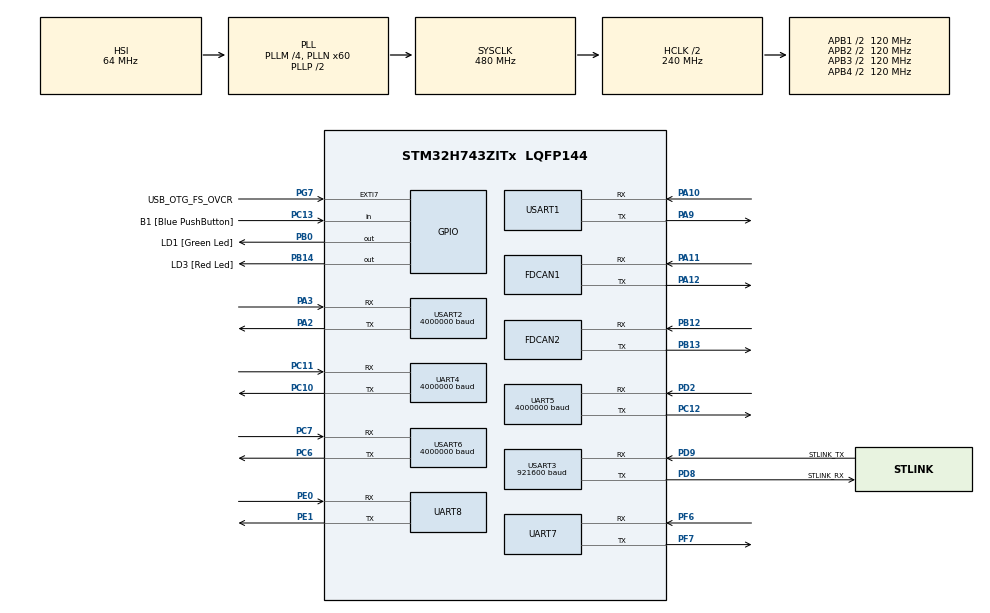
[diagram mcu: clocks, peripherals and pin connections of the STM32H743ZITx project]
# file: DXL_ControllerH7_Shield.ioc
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FDCAN1.AutoRetransmission=ENABLE
FDCAN1.CalculateBaudRateNominal=100000
FDCAN1.CalculateTimeBitNominal=10000
FDCAN1.CalculateTimeQuantumNominal=125.0
FDCAN1.DataPrescaler=2
FDCAN1.DataSyncJumpWidth=16
FDCAN1.DataTimeSeg1=23
FDCAN1.DataTimeSeg2=16
FDCAN1.FrameFormat=FDCAN_FRAME_FD_NO_BRS
FDCAN1.Mode=FDCAN_MODE_EXTERNAL_LOOPBACK
FDCAN1.NominalPrescaler=1
FDCAN1.NominalSyncJumpWidth=10
FDCAN1.NominalTimeSeg1=69
FDCAN1.NominalTimeSeg2=10
FDCAN1.RxFifo0ElmtSize=FDCAN_DATA_BYTES_12
FDCAN1.RxFifo0ElmtsNbr=1
FDCAN1.StdFiltersNbr=1
FDCAN1.TxElmtSize=FDCAN_DATA_BYTES_12
FDCAN1.TxFifoQueueElmtsNbr=1
FDCAN2.CalculateBaudRateNominal=100000
FDCAN2.CalculateTimeBitNominal=10000
FDCAN2.CalculateTimeQuantumNominal=2000.0
Mcu.Family=STM32H7
Mcu.Name=STM32H743ZITx
Mcu.Package=LQFP144
NVIC.FDCAN1_IT0_IRQn=true\:0\:0\:false\:false\:true\:true\:true\:true
NVIC.PriorityGroup=NVIC_PRIORITYGROUP_4
PA10.Mode=Asynchronous
PA10.Signal=USART1_RX
PA11.Mode=FDCAN_Activate
PA11.Signal=FDCAN1_RX
PA12.Mode=FDCAN_Activate
PA12.Signal=FDCAN1_TX
PA2.Mode=Asynchronous
PA2.Signal=USART2_TX
PA3.Mode=Asynchronous
PA3.Signal=USART2_RX
PA9.Mode=Asynchronous
PA9.Signal=USART1_TX
PB0.GPIO_Label=LD1 [Green Led]
PB0.Signal=GPIO_Output
PB12.Mode=FDCAN_Activate
PB12.Signal=FDCAN2_RX
PB13.Mode=FDCAN_Activate
PB13.Signal=FDCAN2_TX
PB14.GPIO_Label=LD3 [Red Led]
PB14.Signal=GPIO_Output
PC10.Mode=Asynchronous
PC10.Signal=UART4_TX
PC11.Mode=Asynchronous
PC11.Signal=UART4_RX
PC12.Mode=Asynchronous
PC12.Signal=UART5_TX
PC13.GPIO_Label=B1 [Blue PushButton]
PC13.Signal=GPIO_Input
PC6.Mode=Asynchronous
PC6.Signal=USART6_TX
PC7.Mode=Asynchronous
PC7.Signal=USART6_RX
PD2.Mode=Asynchronous
PD2.Signal=UART5_RX
PD8.GPIO_Label=STLINK_RX
PD8.Mode=Asynchronous
PD8.Signal=USART3_TX
PD9.GPIO_Label=STLINK_TX
PD9.Mode=Asynchronous
PD9.Signal=USART3_RX
PE0.Mode=Asynchronous
PE0.Signal=UART8_RX
PE1.Mode=Asynchronous
PE1.Signal=UART8_TX
PF6.Mode=Asynchronous
PF6.Signal=UART7_RX
PF7.Mode=Asynchronous
PF7.Signal=UART7_TX
PG7.GPIO_Label=USB_OTG_FS_OVCR
PG7.Signal=GPXTI7
PH0-OSC_IN\ (PH0).Mode=HSE-External-Oscillator
PH0-OSC_IN\ (PH0).Signal=RCC_OSC_IN
PH1-OSC_OUT\ (PH1).Mode=HSE-External-Oscillator
PH1-OSC_OUT\ (PH1).Signal=RCC_OSC_OUT
ProjectManager.HeapSize=0x200
ProjectManager.StackSize=0x400
ProjectManager.TargetToolchain=STM32CubeIDE
RCC.ADCFreq_Value=129000000
RCC.APB1Freq_Value=120000000
RCC.APB2Freq_Value=120000000
RCC.APB3Freq_Value=120000000
RCC.APB4Freq_Value=120000000
RCC.CortexFreq_Value=480000000
RCC.D1PPRE=RCC_APB3_DIV2
RCC.D2PPRE1=RCC_APB1_DIV2
RCC.D2PPRE2=RCC_APB2_DIV2
RCC.D3PPRE=RCC_APB4_DIV2
RCC.DIVM1=4
RCC.DIVN1=60
RCC.DIVQ1=8
RCC.FDCANCLockSelection=RCC_FDCANCLKSOURCE_HSE
RCC.HCLKFreq_Value=240000000
RCC.HPRE=RCC_HCLK_DIV2
RCC.HSE_VALUE=8000000
RCC.PLLFRACN=0
RCC.PWR_Regulator_Voltage_Scale=PWR_REGULATOR_VOLTAGE_SCALE0
RCC.ProductRev=revV
RCC.SYSCLKFreq_VALUE=480000000
RCC.SYSCLKSource=RCC_SYSCLKSOURCE_PLLCLK
RCC.SupplySource=PWR_LDO_SUPPLY
RCC.USBFreq_Value=120000000
UART4.BaudRate=4000000
UART5.BaudRate=4000000
USART1.VirtualMode-Asynchronous=VM_ASYNC
USART2.BaudRate=4000000
USART2.VirtualMode-Asynchronous=VM_ASYNC
USART3.BaudRate=921600
USART3.VirtualMode-Asynchronous=VM_ASYNC
USART6.BaudRate=4000000
USART6.VirtualMode-Asynchronous=VM_ASYNC
board=NUCLEO-H743ZI2

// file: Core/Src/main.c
/* USER CODE BEGIN Header */
/**
  ******************************************************************************
  * @file           : main.c
  * @brief          : Main program body
  ******************************************************************************
  * @attention
  *
  * Copyright (c) 2023 STMicroelectronics.
  * All rights reserved.
  *
  * This software is licensed under terms that can be found in the LICENSE file
  * in the root directory of this software component.
  * If no LICENSE file comes with this software, it is provided AS-IS.
  *
  ******************************************************************************
  */
/* USER CODE END Header */
#include "main.h"

FDCAN_HandleTypeDef hfdcan1;
FDCAN_HandleTypeDef hfdcan2;

UART_HandleTypeDef huart4;
UART_HandleTypeDef huart5;
UART_HandleTypeDef huart7;
UART_HandleTypeDef huart8;
UART_HandleTypeDef huart1;
UART_HandleTypeDef huart2;
UART_HandleTypeDef huart3;
UART_HandleTypeDef huart6;

void SystemClock_Config(void);
static void MX_GPIO_Init(void);
static void MX_USART3_UART_Init(void);
static void MX_FDCAN1_Init(void);
static void MX_FDCAN2_Init(void);
static void MX_UART4_Init(void);
static void MX_UART5_Init(void);
static void MX_USART2_UART_Init(void);
static void MX_USART6_UART_Init(void);
static void MX_UART7_Init(void);
static void MX_UART8_Init(void);
static void MX_USART1_UART_Init(void);

/* USER CODE BEGIN 0 */
	FDCAN_TxHeaderTypeDef TxHeader;
	FDCAN_RxHeaderTypeDef RxHeader;
	uint8_t TxData[12];
	uint8_t RxData[12];

	int idx = 0;

	void HAL_FDCAN_RxFifo0Callback(FDCAN_HandleTypeDef *hfdcan, uint32_t RxFifo0ITs)
	{
		if((RxFifo0ITs & FDCAN_IT_RX_FIFO0_NEW_MESSAGE) != RESET)
		{
			if(HAL_FDCAN_GetRxMessage(hfdcan, FDCAN_RX_FIFO0, &RxHeader, RxData) != HAL_OK)
			{
				Error_Handler();
			}
//			if(HAL_FDCAN_ActivateNotification(hfdcan, ActiveITs, BufferIndexes) != HAL_OK)
//			{
//				Error_Handler();
//			}
		}
	}
/* USER CODE END 0 */

int main(void)
{

  /* MCU Configuration--------------------------------------------------------*/

  /* Reset of all peripherals, Initializes the Flash interface and the Systick. */
  HAL_Init();

  /* Configure the system clock */
  SystemClock_Config();

  /* Initialize all configured peripherals */
  MX_GPIO_Init();
  MX_USART3_UART_Init();
  MX_FDCAN1_Init();
  MX_FDCAN2_Init();
  MX_UART4_Init();
  MX_UART5_Init();
  MX_USART2_UART_Init();
  MX_USART6_UART_Init();
  MX_UART7_Init();
  MX_UART8_Init();
  MX_USART1_UART_Init();
  /* USER CODE BEGIN 2 */

  if(HAL_FDCAN_Start(&hfdcan1)!= HAL_OK){
	  Error_Handler();
  }
  if (HAL_FDCAN_ActivateNotification(&hfdcan1, FDCAN_IT_RX_FIFO0_NEW_MESSAGE, 0) != HAL_OK){
	  Error_Handler();
  }

  TxHeader.Identifier = 0x11;
  TxHeader.IdType = FDCAN_STANDARD_ID;
  TxHeader.TxFrameType = FDCAN_DATA_FRAME;
  TxHeader.DataLength = FDCAN_DLC_BYTES_12;
  TxHeader.ErrorStateIndicator = FDCAN_ESI_ACTIVE;
  TxHeader.BitRateSwitch = FDCAN_BRS_OFF;
  TxHeader.FDFormat = FDCAN_FD_CAN;
  TxHeader.TxEventFifoControl = FDCAN_NO_TX_EVENTS;
  TxHeader.MessageMarker = 0;

  /* USER CODE END 2 */

  /* Infinite loop */
  while (1)
  {

    /* USER CODE BEGIN 3 */
	  for (int i = 0; i<12; i++)
	  {
		  TxData[i] = idx++;
	  }

	  if (HAL_FDCAN_AddMessageToTxFifoQ(&hfdcan1, &TxHeader, TxData) != HAL_OK)
	  {
		  Error_Handler();
	  }
	  HAL_Delay(1000);
  }
  /* USER CODE END 3 */
}

void SystemClock_Config(void)
{
  RCC_OscInitTypeDef RCC_OscInitStruct = {0};
  RCC_ClkInitTypeDef RCC_ClkInitStruct = {0};

  /** Supply configuration update enable
  */
  HAL_PWREx_ConfigSupply(PWR_LDO_SUPPLY);

  /** Configure the main internal regulator output voltage
  */
  __HAL_PWR_VOLTAGESCALING_CONFIG(PWR_REGULATOR_VOLTAGE_SCALE1);

  while(!__HAL_PWR_GET_FLAG(PWR_FLAG_VOSRDY)) {}

  __HAL_RCC_SYSCFG_CLK_ENABLE();
  __HAL_PWR_VOLTAGESCALING_CONFIG(PWR_REGULATOR_VOLTAGE_SCALE0);

  while(!__HAL_PWR_GET_FLAG(PWR_FLAG_VOSRDY)) {}

  /** Initializes the RCC Oscillators according to the specified parameters
  * in the RCC_OscInitTypeDef structure.
  */
  RCC_OscInitStruct.OscillatorType = RCC_OSCILLATORTYPE_HSI|RCC_OSCILLATORTYPE_HSE;
  RCC_OscInitStruct.HSEState = RCC_HSE_ON;
  RCC_OscInitStruct.HSIState = RCC_HSI_DIV1;
  RCC_OscInitStruct.HSICalibrationValue = RCC_HSICALIBRATION_DEFAULT;
  RCC_OscInitStruct.PLL.PLLState = RCC_PLL_ON;
  RCC_OscInitStruct.PLL.PLLSource = RCC_PLLSOURCE_HSI;
  RCC_OscInitStruct.PLL.PLLM = 4;
  RCC_OscInitStruct.PLL.PLLN = 60;
  RCC_OscInitStruct.PLL.PLLP = 2;
  RCC_OscInitStruct.PLL.PLLQ = 8;
  RCC_OscInitStruct.PLL.PLLR = 2;
  RCC_OscInitStruct.PLL.PLLRGE = RCC_PLL1VCIRANGE_3;
  RCC_OscInitStruct.PLL.PLLVCOSEL = RCC_PLL1VCOWIDE;
  RCC_OscInitStruct.PLL.PLLFRACN = 0;
  if (HAL_RCC_OscConfig(&RCC_OscInitStruct) != HAL_OK)
  {
    Error_Handler();
  }

  /** Initializes the CPU, AHB and APB buses clocks
  */
  RCC_ClkInitStruct.ClockType = RCC_CLOCKTYPE_HCLK|RCC_CLOCKTYPE_SYSCLK
                              |RCC_CLOCKTYPE_PCLK1|RCC_CLOCKTYPE_PCLK2
                              |RCC_CLOCKTYPE_D3PCLK1|RCC_CLOCKTYPE_D1PCLK1;
  RCC_ClkInitStruct.SYSCLKSource = RCC_SYSCLKSOURCE_PLLCLK;
  RCC_ClkInitStruct.SYSCLKDivider = RCC_SYSCLK_DIV1;
  RCC_ClkInitStruct.AHBCLKDivider = RCC_HCLK_DIV2;
  RCC_ClkInitStruct.APB3CLKDivider = RCC_APB3_DIV2;
  RCC_ClkInitStruct.APB1CLKDivider = RCC_APB1_DIV2;
  RCC_ClkInitStruct.APB2CLKDivider = RCC_APB2_DIV2;
  RCC_ClkInitStruct.APB4CLKDivider = RCC_APB4_DIV2;

  if (HAL_RCC_ClockConfig(&RCC_ClkInitStruct, FLASH_LATENCY_4) != HAL_OK)
  {
    Error_Handler();
  }
}

static void MX_FDCAN1_Init(void)
{

  hfdcan1.Instance = FDCAN1;
  hfdcan1.Init.FrameFormat = FDCAN_FRAME_FD_NO_BRS;
  hfdcan1.Init.Mode = FDCAN_MODE_EXTERNAL_LOOPBACK;
  hfdcan1.Init.AutoRetransmission = ENABLE;
  hfdcan1.Init.TransmitPause = DISABLE;
  hfdcan1.Init.ProtocolException = DISABLE;
  hfdcan1.Init.NominalPrescaler = 1;
  hfdcan1.Init.NominalSyncJumpWidth = 10;
  hfdcan1.Init.NominalTimeSeg1 = 69;
  hfdcan1.Init.NominalTimeSeg2 = 10;
  hfdcan1.Init.DataPrescaler = 2;
  hfdcan1.Init.DataSyncJumpWidth = 16;
  hfdcan1.Init.DataTimeSeg1 = 23;
  hfdcan1.Init.DataTimeSeg2 = 16;
  hfdcan1.Init.MessageRAMOffset = 0;
  hfdcan1.Init.StdFiltersNbr = 1;
  hfdcan1.Init.ExtFiltersNbr = 0;
  hfdcan1.Init.RxFifo0ElmtsNbr = 1;
  hfdcan1.Init.RxFifo0ElmtSize = FDCAN_DATA_BYTES_12;
  hfdcan1.Init.RxFifo1ElmtsNbr = 0;
  hfdcan1.Init.RxFifo1ElmtSize = FDCAN_DATA_BYTES_8;
  hfdcan1.Init.RxBuffersNbr = 0;
  hfdcan1.Init.RxBufferSize = FDCAN_DATA_BYTES_8;
  hfdcan1.Init.TxEventsNbr = 0;
  hfdcan1.Init.TxBuffersNbr = 0;
  hfdcan1.Init.TxFifoQueueElmtsNbr = 1;
  hfdcan1.Init.TxFifoQueueMode = FDCAN_TX_FIFO_OPERATION;
  hfdcan1.Init.TxElmtSize = FDCAN_DATA_BYTES_12;
  if (HAL_FDCAN_Init(&hfdcan1) != HAL_OK)
  {
    Error_Handler();
  }
  /* USER CODE BEGIN FDCAN1_Init 2 */
  FDCAN_FilterTypeDef FDC1_FilterConfig;
  FDC1_FilterConfig.IdType = FDCAN_STANDARD_ID;
  FDC1_FilterConfig.FilterIndex = 0;
  FDC1_FilterConfig.FilterType = FDCAN_FILTER_MASK;
  FDC1_FilterConfig.FilterConfig = FDCAN_FILTER_TO_RXFIFO0;
  FDC1_FilterConfig.FilterID1 = 0x11;
  FDC1_FilterConfig.FilterID2 = 0x11;
  FDC1_FilterConfig.RxBufferIndex = 0;

  if(HAL_FDCAN_ConfigFilter(&hfdcan1, &FDC1_FilterConfig) != HAL_OK)
  {
	  Error_Handler();
  }
  /* USER CODE END FDCAN1_Init 2 */

}

static void MX_FDCAN2_Init(void)
{

  hfdcan2.Instance = FDCAN2;
  hfdcan2.Init.FrameFormat = FDCAN_FRAME_CLASSIC;
  hfdcan2.Init.Mode = FDCAN_MODE_NORMAL;
  hfdcan2.Init.AutoRetransmission = DISABLE;
  hfdcan2.Init.TransmitPause = DISABLE;
  hfdcan2.Init.ProtocolException = DISABLE;
  hfdcan2.Init.NominalPrescaler = 16;
  hfdcan2.Init.NominalSyncJumpWidth = 1;
  hfdcan2.Init.NominalTimeSeg1 = 2;
  hfdcan2.Init.NominalTimeSeg2 = 2;
  hfdcan2.Init.DataPrescaler = 1;
  hfdcan2.Init.DataSyncJumpWidth = 1;
  hfdcan2.Init.DataTimeSeg1 = 1;
  hfdcan2.Init.DataTimeSeg2 = 1;
  hfdcan2.Init.MessageRAMOffset = 0;
  hfdcan2.Init.StdFiltersNbr = 0;
  hfdcan2.Init.ExtFiltersNbr = 0;
  hfdcan2.Init.RxFifo0ElmtsNbr = 0;
  hfdcan2.Init.RxFifo0ElmtSize = FDCAN_DATA_BYTES_8;
  hfdcan2.Init.RxFifo1ElmtsNbr = 0;
  hfdcan2.Init.RxFifo1ElmtSize = FDCAN_DATA_BYTES_8;
  hfdcan2.Init.RxBuffersNbr = 0;
  hfdcan2.Init.RxBufferSize = FDCAN_DATA_BYTES_8;
  hfdcan2.Init.TxEventsNbr = 0;
  hfdcan2.Init.TxBuffersNbr = 0;
  hfdcan2.Init.TxFifoQueueElmtsNbr = 0;
  hfdcan2.Init.TxFifoQueueMode = FDCAN_TX_FIFO_OPERATION;
  hfdcan2.Init.TxElmtSize = FDCAN_DATA_BYTES_8;
  if (HAL_FDCAN_Init(&hfdcan2) != HAL_OK)
  {
    Error_Handler();
  }

}

static void MX_UART4_Init(void)
{

  huart4.Instance = UART4;
  huart4.Init.BaudRate = 4000000;
  huart4.Init.WordLength = UART_WORDLENGTH_8B;
  huart4.Init.StopBits = UART_STOPBITS_1;
  huart4.Init.Parity = UART_PARITY_NONE;
  huart4.Init.Mode = UART_MODE_TX_RX;
  huart4.Init.HwFlowCtl = UART_HWCONTROL_NONE;
  huart4.Init.OverSampling = UART_OVERSAMPLING_16;
  huart4.Init.OneBitSampling = UART_ONE_BIT_SAMPLE_DISABLE;
  huart4.Init.ClockPrescaler = UART_PRESCALER_DIV1;
  huart4.AdvancedInit.AdvFeatureInit = UART_ADVFEATURE_NO_INIT;
  if (HAL_UART_Init(&huart4) != HAL_OK)
  {
    Error_Handler();
  }
  if (HAL_UARTEx_SetTxFifoThreshold(&huart4, UART_TXFIFO_THRESHOLD_1_8) != HAL_OK)
  {
    Error_Handler();
  }
  if (HAL_UARTEx_SetRxFifoThreshold(&huart4, UART_RXFIFO_THRESHOLD_1_8) != HAL_OK)
  {
    Error_Handler();
  }
  if (HAL_UARTEx_DisableFifoMode(&huart4) != HAL_OK)
  {
    Error_Handler();
  }

}

static void MX_UART5_Init(void)
{

  huart5.Instance = UART5;
  huart5.Init.BaudRate = 4000000;
  huart5.Init.WordLength = UART_WORDLENGTH_8B;
  huart5.Init.StopBits = UART_STOPBITS_1;
  huart5.Init.Parity = UART_PARITY_NONE;
  huart5.Init.Mode = UART_MODE_TX_RX;
  huart5.Init.HwFlowCtl = UART_HWCONTROL_NONE;
  huart5.Init.OverSampling = UART_OVERSAMPLING_16;
  huart5.Init.OneBitSampling = UART_ONE_BIT_SAMPLE_DISABLE;
  huart5.Init.ClockPrescaler = UART_PRESCALER_DIV1;
  huart5.AdvancedInit.AdvFeatureInit = UART_ADVFEATURE_NO_INIT;
  if (HAL_UART_Init(&huart5) != HAL_OK)
  {
    Error_Handler();
  }
  if (HAL_UARTEx_SetTxFifoThreshold(&huart5, UART_TXFIFO_THRESHOLD_1_8) != HAL_OK)
  {
    Error_Handler();
  }
  if (HAL_UARTEx_SetRxFifoThreshold(&huart5, UART_RXFIFO_THRESHOLD_1_8) != HAL_OK)
  {
    Error_Handler();
  }
  if (HAL_UARTEx_DisableFifoMode(&huart5) != HAL_OK)
  {
    Error_Handler();
  }

}

static void MX_UART7_Init(void)
{

  huart7.Instance = UART7;
  huart7.Init.BaudRate = 115200;
  huart7.Init.WordLength = UART_WORDLENGTH_8B;
  huart7.Init.StopBits = UART_STOPBITS_1;
  huart7.Init.Parity = UART_PARITY_NONE;
  huart7.Init.Mode = UART_MODE_TX_RX;
  huart7.Init.HwFlowCtl = UART_HWCONTROL_NONE;
  huart7.Init.OverSampling = UART_OVERSAMPLING_16;
  huart7.Init.OneBitSampling = UART_ONE_BIT_SAMPLE_DISABLE;
  huart7.Init.ClockPrescaler = UART_PRESCALER_DIV1;
  huart7.AdvancedInit.AdvFeatureInit = UART_ADVFEATURE_NO_INIT;
  if (HAL_UART_Init(&huart7) != HAL_OK)
  {
    Error_Handler();
  }
  if (HAL_UARTEx_SetTxFifoThreshold(&huart7, UART_TXFIFO_THRESHOLD_1_8) != HAL_OK)
  {
    Error_Handler();
  }
  if (HAL_UARTEx_SetRxFifoThreshold(&huart7, UART_RXFIFO_THRESHOLD_1_8) != HAL_OK)
  {
    Error_Handler();
  }
  if (HAL_UARTEx_DisableFifoMode(&huart7) != HAL_OK)
  {
    Error_Handler();
  }

}

static void MX_UART8_Init(void)
{

  huart8.Instance = UART8;
  huart8.Init.BaudRate = 115200;
  huart8.Init.WordLength = UART_WORDLENGTH_8B;
  huart8.Init.StopBits = UART_STOPBITS_1;
  huart8.Init.Parity = UART_PARITY_NONE;
  huart8.Init.Mode = UART_MODE_TX_RX;
  huart8.Init.HwFlowCtl = UART_HWCONTROL_NONE;
  huart8.Init.OverSampling = UART_OVERSAMPLING_16;
  huart8.Init.OneBitSampling = UART_ONE_BIT_SAMPLE_DISABLE;
  huart8.Init.ClockPrescaler = UART_PRESCALER_DIV1;
  huart8.AdvancedInit.AdvFeatureInit = UART_ADVFEATURE_NO_INIT;
  if (HAL_UART_Init(&huart8) != HAL_OK)
  {
    Error_Handler();
  }
  if (HAL_UARTEx_SetTxFifoThreshold(&huart8, UART_TXFIFO_THRESHOLD_1_8) != HAL_OK)
  {
    Error_Handler();
  }
  if (HAL_UARTEx_SetRxFifoThreshold(&huart8, UART_RXFIFO_THRESHOLD_1_8) != HAL_OK)
  {
    Error_Handler();
  }
  if (HAL_UARTEx_DisableFifoMode(&huart8) != HAL_OK)
  {
    Error_Handler();
  }

}

static void MX_USART1_UART_Init(void)
{

  huart1.Instance = USART1;
  huart1.Init.BaudRate = 115200;
  huart1.Init.WordLength = UART_WORDLENGTH_8B;
  huart1.Init.StopBits = UART_STOPBITS_1;
  huart1.Init.Parity = UART_PARITY_NONE;
  huart1.Init.Mode = UART_MODE_TX_RX;
  huart1.Init.HwFlowCtl = UART_HWCONTROL_NONE;
  huart1.Init.OverSampling = UART_OVERSAMPLING_16;
  huart1.Init.OneBitSampling = UART_ONE_BIT_SAMPLE_DISABLE;
  huart1.Init.ClockPrescaler = UART_PRESCALER_DIV1;
  huart1.AdvancedInit.AdvFeatureInit = UART_ADVFEATURE_NO_INIT;
  if (HAL_UART_Init(&huart1) != HAL_OK)
  {
    Error_Handler();
  }
  if (HAL_UARTEx_SetTxFifoThreshold(&huart1, UART_TXFIFO_THRESHOLD_1_8) != HAL_OK)
  {
    Error_Handler();
  }
  if (HAL_UARTEx_SetRxFifoThreshold(&huart1, UART_RXFIFO_THRESHOLD_1_8) != HAL_OK)
  {
    Error_Handler();
  }
  if (HAL_UARTEx_DisableFifoMode(&huart1) != HAL_OK)
  {
    Error_Handler();
  }

}

static void MX_USART2_UART_Init(void)
{

  huart2.Instance = USART2;
  huart2.Init.BaudRate = 4000000;
  huart2.Init.WordLength = UART_WORDLENGTH_8B;
  huart2.Init.StopBits = UART_STOPBITS_1;
  huart2.Init.Parity = UART_PARITY_NONE;
  huart2.Init.Mode = UART_MODE_TX_RX;
  huart2.Init.HwFlowCtl = UART_HWCONTROL_NONE;
  huart2.Init.OverSampling = UART_OVERSAMPLING_16;
  huart2.Init.OneBitSampling = UART_ONE_BIT_SAMPLE_DISABLE;
  huart2.Init.ClockPrescaler = UART_PRESCALER_DIV1;
  huart2.AdvancedInit.AdvFeatureInit = UART_ADVFEATURE_NO_INIT;
  if (HAL_UART_Init(&huart2) != HAL_OK)
  {
    Error_Handler();
  }
  if (HAL_UARTEx_SetTxFifoThreshold(&huart2, UART_TXFIFO_THRESHOLD_1_8) != HAL_OK)
  {
    Error_Handler();
  }
  if (HAL_UARTEx_SetRxFifoThreshold(&huart2, UART_RXFIFO_THRESHOLD_1_8) != HAL_OK)
  {
    Error_Handler();
  }
  if (HAL_UARTEx_DisableFifoMode(&huart2) != HAL_OK)
  {
    Error_Handler();
  }

}

static void MX_USART3_UART_Init(void)
{

  huart3.Instance = USART3;
  huart3.Init.BaudRate = 921600;
  huart3.Init.WordLength = UART_WORDLENGTH_8B;
  huart3.Init.StopBits = UART_STOPBITS_1;
  huart3.Init.Parity = UART_PARITY_NONE;
  huart3.Init.Mode = UART_MODE_TX_RX;
  huart3.Init.HwFlowCtl = UART_HWCONTROL_NONE;
  huart3.Init.OverSampling = UART_OVERSAMPLING_16;
  huart3.Init.OneBitSampling = UART_ONE_BIT_SAMPLE_DISABLE;
  huart3.Init.ClockPrescaler = UART_PRESCALER_DIV1;
  huart3.AdvancedInit.AdvFeatureInit = UART_ADVFEATURE_NO_INIT;
  if (HAL_UART_Init(&huart3) != HAL_OK)
  {
    Error_Handler();
  }
  if (HAL_UARTEx_SetTxFifoThreshold(&huart3, UART_TXFIFO_THRESHOLD_1_8) != HAL_OK)
  {
    Error_Handler();
  }
  if (HAL_UARTEx_SetRxFifoThreshold(&huart3, UART_RXFIFO_THRESHOLD_1_8) != HAL_OK)
  {
    Error_Handler();
  }
  if (HAL_UARTEx_DisableFifoMode(&huart3) != HAL_OK)
  {
    Error_Handler();
  }

}

static void MX_USART6_UART_Init(void)
{

  huart6.Instance = USART6;
  huart6.Init.BaudRate = 4000000;
  huart6.Init.WordLength = UART_WORDLENGTH_8B;
  huart6.Init.StopBits = UART_STOPBITS_1;
  huart6.Init.Parity = UART_PARITY_NONE;
  huart6.Init.Mode = UART_MODE_TX_RX;
  huart6.Init.HwFlowCtl = UART_HWCONTROL_NONE;
  huart6.Init.OverSampling = UART_OVERSAMPLING_16;
  huart6.Init.OneBitSampling = UART_ONE_BIT_SAMPLE_DISABLE;
  huart6.Init.ClockPrescaler = UART_PRESCALER_DIV1;
  huart6.AdvancedInit.AdvFeatureInit = UART_ADVFEATURE_NO_INIT;
  if (HAL_UART_Init(&huart6) != HAL_OK)
  {
    Error_Handler();
  }
  if (HAL_UARTEx_SetTxFifoThreshold(&huart6, UART_TXFIFO_THRESHOLD_1_8) != HAL_OK)
  {
    Error_Handler();
  }
  if (HAL_UARTEx_SetRxFifoThreshold(&huart6, UART_RXFIFO_THRESHOLD_1_8) != HAL_OK)
  {
    Error_Handler();
  }
  if (HAL_UARTEx_DisableFifoMode(&huart6) != HAL_OK)
  {
    Error_Handler();
  }

}

static void MX_GPIO_Init(void)
{
  GPIO_InitTypeDef GPIO_InitStruct = {0};

  /* GPIO Ports Clock Enable */
  __HAL_RCC_GPIOC_CLK_ENABLE();
  __HAL_RCC_GPIOF_CLK_ENABLE();
  __HAL_RCC_GPIOH_CLK_ENABLE();
  __HAL_RCC_GPIOA_CLK_ENABLE();
  __HAL_RCC_GPIOB_CLK_ENABLE();
  __HAL_RCC_GPIOD_CLK_ENABLE();
  __HAL_RCC_GPIOG_CLK_ENABLE();
  __HAL_RCC_GPIOE_CLK_ENABLE();

  /*Configure GPIO pin Output Level */
  HAL_GPIO_WritePin(GPIOB, LD1_Pin|LD3_Pin, GPIO_PIN_RESET);

  /*Configure GPIO pin : B1_Pin */
  GPIO_InitStruct.Pin = B1_Pin;
  GPIO_InitStruct.Mode = GPIO_MODE_INPUT;
  GPIO_InitStruct.Pull = GPIO_NOPULL;
  HAL_GPIO_Init(B1_GPIO_Port, &GPIO_InitStruct);

  /*Configure GPIO pins : LD1_Pin LD3_Pin */
  GPIO_InitStruct.Pin = LD1_Pin|LD3_Pin;
  GPIO_InitStruct.Mode = GPIO_MODE_OUTPUT_PP;
  GPIO_InitStruct.Pull = GPIO_NOPULL;
  GPIO_InitStruct.Speed = GPIO_SPEED_FREQ_LOW;
  HAL_GPIO_Init(GPIOB, &GPIO_InitStruct);

  /*Configure GPIO pin : USB_OTG_FS_OVCR_Pin */
  GPIO_InitStruct.Pin = USB_OTG_FS_OVCR_Pin;
  GPIO_InitStruct.Mode = GPIO_MODE_IT_RISING;
  GPIO_InitStruct.Pull = GPIO_NOPULL;
  HAL_GPIO_Init(USB_OTG_FS_OVCR_GPIO_Port, &GPIO_InitStruct);

}

void Error_Handler(void)
{
  __disable_irq();
  while (1)
  {
  }
}
